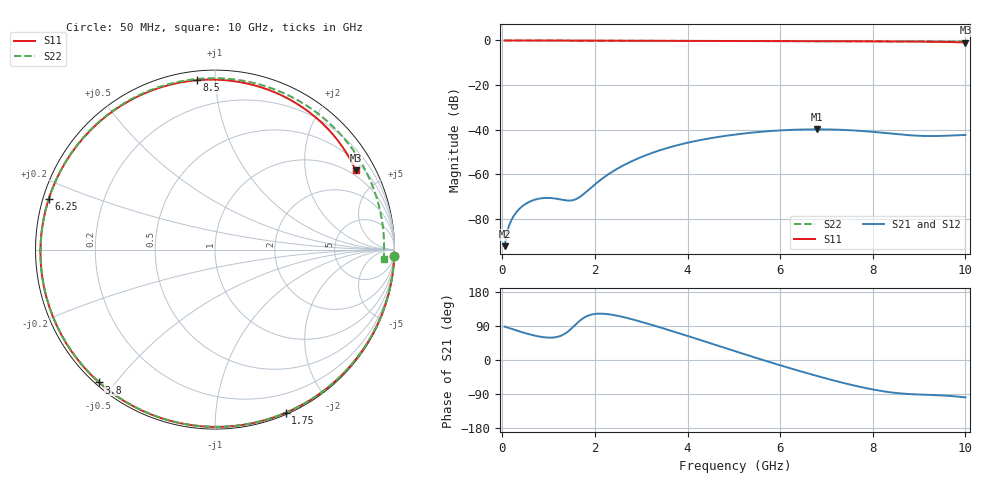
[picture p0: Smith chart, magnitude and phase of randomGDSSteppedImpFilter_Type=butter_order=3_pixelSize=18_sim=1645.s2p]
! freq	dB(S11)	phase(S11)	dB(S12)	phase(S12)
!  dB(S21)	phase(S21)	dB(S22)	phase(S22)
!S-par simulation data
#  GHz  S  DB  R 50
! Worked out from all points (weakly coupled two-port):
!   200 points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, 50 MHz to 10 GHz, reference 50 ohm
!   highest |S21| = -39.90 dB at 6.8 GHz (marker M1); lowest = -92.3 dB at 50 MHz (marker M2)
!   lowest |S11| = -0.9 dB at 10 GHz (marker M3), VSWR 18.88, Z = 39.5 + j183 ohm
!   |S11| at or under -10 dB: nowhere
!   |S22| runs from -0.5 to 0.0 dB; largest |S21 - S12| = 0
!   S11 on the Smith chart (normalised r, x): 50 MHz: 1, -57; 1.75 GHz: 0.02, -1.52; 3.8 GHz: 0.01, -0.45; 6.25 GHz: 0.02, +0.15; 8.5 GHz: 0.05, +0.90; 10 GHz: 0.79, +3.65
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0.05  -0.00 -2.0  -92.32 88.1  -92.32 88.1  -0.00 -2.0
0.2  -0.01 -8.0  -80.49 82.3  -80.49 82.3  -0.01 -8.0
0.45  -0.02 -17.8  -74.12 72.6  -74.12 72.6  -0.02 -18.0
0.7  -0.03 -27.6  -71.49 64.4  -71.49 64.4  -0.04 -27.8
1  -0.05 -39.1  -70.66 59.1  -70.66 59.1  -0.05 -39.5
1.5  -0.07 -57.6  -71.78 83.7  -71.78 83.7  -0.07 -58.6
1.75  -0.08 -66.6  -69.05 110.5  -69.05 110.5  -0.09 -68.0
2.5  -0.11 -91.9  -57.37 116.4  -57.37 116.4  -0.12 -95.1
3.4  -0.14 -119.6  -49.31 86.3  -49.31 86.3  -0.16 -126.1
3.8  -0.15 -131.1  -46.91 71.2  -46.91 71.2  -0.18 -139.5
4.45  -0.18 -149.1  -44.03 46.0  -44.03 46.0  -0.21 -161.1
5.05  -0.21 -165.2  -42.17 22.3  -42.17 22.3  -0.25 178.7
5.65  -0.24 179.0  -40.88 -0.9  -40.88 -0.9  -0.29 158.1
6.25  -0.28 163.0  -40.12 -23.0  -40.12 -23.0  -0.33 136.9
6.7  -0.31 150.8  -39.90 -38.9  -39.90 -38.9  -0.36 120.4
6.8  -0.32 148.0  -39.90 -42.3  -39.90 -42.3  -0.36 116.7
7.6  -0.38 124.9  -40.39 -67.4  -40.39 -67.4  -0.41 86.2
8.35  -0.44 101.2  -41.70 -84.7  -41.70 -84.7  -0.44 57.1
8.5  -0.46 96.1  -42.01 -87.0  -42.01 -87.0  -0.44 51.4
9.35  -0.59 63.3  -42.89 -92.6  -42.89 -92.6  -0.48 19.5
9.7  -0.72 46.6  -42.67 -95.1  -42.67 -95.1  -0.50 7.0
10  -0.92 29.4  -42.41 -98.6  -42.41 -98.6  -0.53 -3.2
